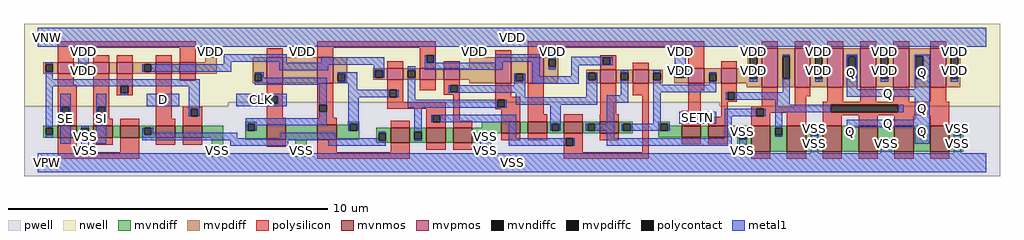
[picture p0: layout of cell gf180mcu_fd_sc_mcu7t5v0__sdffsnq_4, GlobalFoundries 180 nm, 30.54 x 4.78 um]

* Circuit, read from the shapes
.subckt gf180mcu_fd_sc_mcu7t5v0__sdffsnq_4 D SE SETN SI CLK Q VDD VNW VPW VSS
XM1 VSS SE n1 VPW nfet_06v0 w=0.38u l=0.6u
XM2 n2 SI VSS VPW nfet_06v0 w=0.38u l=0.6u
XM3 n3 SE n2 VPW nfet_06v0 w=0.38u l=0.6u
XM4 n4 D n3 VPW nfet_06v0 w=0.38u l=0.6u
XM5 VSS n1 n4 VPW nfet_06v0 w=0.38u l=0.6u
XM6 VSS CLK n5 VPW nfet_06v0 w=0.465u l=0.6u
XM7 n6 n5 VSS VPW nfet_06v0 w=0.465u l=0.6u
XM8 n7 n5 n3 VPW nfet_06v0 w=0.475u l=0.6u
XM9 n8 n6 n7 VPW nfet_06v0 w=0.475u l=0.6u
XM10 VSS n9 n8 VPW nfet_06v0 w=0.475u l=0.6u
XM11 n10 n7 VSS VPW nfet_06v0 w=0.36u l=0.6u
XM12 n9 SETN n10 VPW nfet_06v0 w=0.36u l=0.6u
XM13 n11 n6 n9 VPW nfet_06v0 w=0.36u l=0.6u
XM14 n12 n5 n11 VPW nfet_06v0 w=0.36u l=0.6u
XM15 n13 SETN n12 VPW nfet_06v0 w=0.37u l=0.6u
XM16 VSS n14 n13 VPW nfet_06v0 w=0.37u l=0.6u
XM17 n14 n11 VSS VPW nfet_06v0 w=0.815u l=0.6u m=2
XM18 Q n14 VSS VPW nfet_06v0 w=0.815u l=0.6u m=4
XM19 VDD SE n1 VNW pfet_06v0 w=0.36u l=0.5u
XM20 n15 SI VDD VNW pfet_06v0 w=0.36u l=0.5u
XM21 n16 n1 n15 VNW pfet_06v0 w=0.36u l=0.5u
XM22 n17 D n16 VNW pfet_06v0 w=0.36u l=0.5u
XM23 VDD SE n17 VNW pfet_06v0 w=0.36u l=0.5u
XM24 VDD CLK n5 VNW pfet_06v0 w=0.815u l=0.5u
XM25 n6 n5 VDD VNW pfet_06v0 w=0.815u l=0.5u
XM26 n7 n6 n16 VNW pfet_06v0 w=0.36u l=0.5u
XM27 n18 n5 n7 VNW pfet_06v0 w=0.36u l=0.5u
XM28 VDD n9 n18 VNW pfet_06v0 w=0.36u l=0.5u
XM29 n9 n7 VDD VNW pfet_06v0 w=0.815u l=0.5u
XM30 VDD SETN n9 VNW pfet_06v0 w=0.815u l=0.5u
XM31 n11 n5 n9 VNW pfet_06v0 w=0.415u l=0.5u
XM32 n12 n6 n11 VNW pfet_06v0 w=0.415u l=0.5u
XM33 n12 SETN VDD VNW pfet_06v0 w=0.47u l=0.5u
XM34 VDD n14 n12 VNW pfet_06v0 w=0.47u l=0.5u
XM35 n14 n11 VDD VNW pfet_06v0 w=1.22u l=0.5u m=2
XM36 Q n14 VDD VNW pfet_06v0 w=1.22u l=0.5u m=4
.ends

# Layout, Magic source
magic
tech gf180mcuD
magscale 1 10
<< nwell >>
rect -86 377 6022 870
rect -86 352 1193 377
rect 4269 352 6022 377
<< pwell >>
rect 1193 352 4269 377
rect -86 -86 6022 352
<< mvnmos >>
rect 124 156 244 232
rect 348 156 468 232
rect 516 156 636 232
rect 740 156 860 232
rect 908 156 1028 232
rect 1432 144 1552 237
rect 1750 144 1870 237
rect 2208 124 2328 219
rect 2432 124 2552 219
rect 2600 124 2720 219
rect 2900 185 3020 257
rect 3068 185 3188 257
rect 3292 185 3412 257
rect 3516 185 3636 257
rect 4029 158 4149 232
rect 4197 158 4317 232
rect 4465 69 4585 232
rect 4689 69 4809 232
rect 4913 69 5033 232
rect 5137 69 5257 232
rect 5361 69 5481 232
rect 5585 69 5705 232
<< mvpmos >>
rect 124 556 224 628
rect 348 556 448 628
rect 496 556 596 628
rect 740 556 840 628
rect 888 556 988 628
rect 1432 497 1532 660
rect 1750 497 1850 660
rect 2188 518 2288 590
rect 2392 518 2492 590
rect 2540 518 2640 590
rect 2864 497 2964 660
rect 3068 497 3168 660
rect 3520 497 3620 580
rect 3724 497 3824 580
rect 4072 497 4172 591
rect 4276 497 4376 591
rect 4532 472 4632 716
rect 4736 472 4836 716
rect 4940 472 5040 716
rect 5147 472 5247 716
rect 5353 472 5453 716
rect 5585 472 5685 716
<< mvndiff >>
rect 1300 244 1372 257
rect 36 219 124 232
rect 36 173 49 219
rect 95 173 124 219
rect 36 156 124 173
rect 244 215 348 232
rect 244 169 273 215
rect 319 169 348 215
rect 244 156 348 169
rect 468 156 516 232
rect 636 219 740 232
rect 636 173 665 219
rect 711 173 740 219
rect 636 156 740 173
rect 860 156 908 232
rect 1028 156 1160 232
rect 1088 95 1160 156
rect 1300 198 1313 244
rect 1359 237 1372 244
rect 1940 244 2012 257
rect 1940 237 1953 244
rect 1359 198 1432 237
rect 1300 144 1432 198
rect 1552 144 1750 237
rect 1870 198 1953 237
rect 1999 198 2012 244
rect 2780 219 2900 257
rect 1870 144 2012 198
rect 2120 183 2208 219
rect 1088 49 1101 95
rect 1147 49 1160 95
rect 1088 36 1160 49
rect 1612 95 1684 144
rect 1612 49 1625 95
rect 1671 49 1684 95
rect 1612 36 1684 49
rect 2120 137 2133 183
rect 2179 137 2208 183
rect 2120 124 2208 137
rect 2328 193 2432 219
rect 2328 147 2357 193
rect 2403 147 2432 193
rect 2328 124 2432 147
rect 2552 124 2600 219
rect 2720 185 2900 219
rect 3020 185 3068 257
rect 3188 244 3292 257
rect 3188 198 3217 244
rect 3263 198 3292 244
rect 3188 185 3292 198
rect 3412 244 3516 257
rect 3412 198 3441 244
rect 3487 198 3516 244
rect 3412 185 3516 198
rect 3636 244 3724 257
rect 3636 198 3665 244
rect 3711 198 3724 244
rect 3636 185 3724 198
rect 2720 183 2840 185
rect 2720 137 2781 183
rect 2827 137 2840 183
rect 2720 124 2840 137
rect 3884 244 3956 257
rect 3884 198 3897 244
rect 3943 232 3956 244
rect 3943 198 4029 232
rect 3884 158 4029 198
rect 4149 158 4197 232
rect 4317 193 4465 232
rect 4317 158 4390 193
rect 4377 147 4390 158
rect 4436 147 4465 193
rect 4377 69 4465 147
rect 4585 218 4689 232
rect 4585 172 4614 218
rect 4660 172 4689 218
rect 4585 69 4689 172
rect 4809 218 4913 232
rect 4809 172 4838 218
rect 4884 172 4913 218
rect 4809 69 4913 172
rect 5033 218 5137 232
rect 5033 172 5062 218
rect 5108 172 5137 218
rect 5033 69 5137 172
rect 5257 149 5361 232
rect 5257 103 5286 149
rect 5332 103 5361 149
rect 5257 69 5361 103
rect 5481 218 5585 232
rect 5481 172 5510 218
rect 5556 172 5585 218
rect 5481 69 5585 172
rect 5705 218 5793 232
rect 5705 172 5734 218
rect 5780 172 5793 218
rect 5705 69 5793 172
<< mvpdiff >>
rect 1048 707 1120 720
rect 1048 661 1061 707
rect 1107 661 1120 707
rect 1048 628 1120 661
rect 1618 716 1690 729
rect 1618 670 1631 716
rect 1677 670 1690 716
rect 1618 660 1690 670
rect 36 615 124 628
rect 36 569 49 615
rect 95 569 124 615
rect 36 556 124 569
rect 224 615 348 628
rect 224 569 263 615
rect 309 569 348 615
rect 224 556 348 569
rect 448 556 496 628
rect 596 615 740 628
rect 596 569 665 615
rect 711 569 740 615
rect 596 556 740 569
rect 840 556 888 628
rect 988 556 1120 628
rect 1344 556 1432 660
rect 1344 510 1357 556
rect 1403 510 1432 556
rect 1344 497 1432 510
rect 1532 497 1750 660
rect 1850 556 1938 660
rect 2700 718 2772 731
rect 2700 672 2713 718
rect 2759 672 2772 718
rect 2700 660 2772 672
rect 2700 590 2864 660
rect 1850 510 1879 556
rect 1925 510 1938 556
rect 2100 577 2188 590
rect 2100 531 2113 577
rect 2159 531 2188 577
rect 2100 518 2188 531
rect 2288 577 2392 590
rect 2288 531 2317 577
rect 2363 531 2392 577
rect 2288 518 2392 531
rect 2492 518 2540 590
rect 2640 518 2864 590
rect 1850 497 1938 510
rect 2700 497 2864 518
rect 2964 556 3068 660
rect 2964 510 2993 556
rect 3039 510 3068 556
rect 2964 497 3068 510
rect 3168 647 3256 660
rect 3168 601 3197 647
rect 3243 601 3256 647
rect 3168 497 3256 601
rect 4444 665 4532 716
rect 4444 591 4457 665
rect 3432 562 3520 580
rect 3432 516 3445 562
rect 3491 516 3520 562
rect 3432 497 3520 516
rect 3620 562 3724 580
rect 3620 516 3649 562
rect 3695 516 3724 562
rect 3620 497 3724 516
rect 3824 562 3912 580
rect 3824 516 3853 562
rect 3899 516 3912 562
rect 3824 497 3912 516
rect 3984 578 4072 591
rect 3984 532 3997 578
rect 4043 532 4072 578
rect 3984 497 4072 532
rect 4172 556 4276 591
rect 4172 510 4201 556
rect 4247 510 4276 556
rect 4172 497 4276 510
rect 4376 525 4457 591
rect 4503 525 4532 665
rect 4376 497 4532 525
rect 4436 472 4532 497
rect 4632 665 4736 716
rect 4632 525 4661 665
rect 4707 525 4736 665
rect 4632 472 4736 525
rect 4836 665 4940 716
rect 4836 525 4865 665
rect 4911 525 4940 665
rect 4836 472 4940 525
rect 5040 665 5147 716
rect 5040 525 5072 665
rect 5118 525 5147 665
rect 5040 472 5147 525
rect 5247 665 5353 716
rect 5247 525 5276 665
rect 5322 525 5353 665
rect 5247 472 5353 525
rect 5453 665 5585 716
rect 5453 525 5495 665
rect 5541 525 5585 665
rect 5453 472 5585 525
rect 5685 665 5773 716
rect 5685 525 5714 665
rect 5760 525 5773 665
rect 5685 472 5773 525
<< mvndiffc >>
rect 49 173 95 219
rect 273 169 319 215
rect 665 173 711 219
rect 1313 198 1359 244
rect 1953 198 1999 244
rect 1101 49 1147 95
rect 1625 49 1671 95
rect 2133 137 2179 183
rect 2357 147 2403 193
rect 3217 198 3263 244
rect 3441 198 3487 244
rect 3665 198 3711 244
rect 2781 137 2827 183
rect 3897 198 3943 244
rect 4390 147 4436 193
rect 4614 172 4660 218
rect 4838 172 4884 218
rect 5062 172 5108 218
rect 5286 103 5332 149
rect 5510 172 5556 218
rect 5734 172 5780 218
<< mvpdiffc >>
rect 1061 661 1107 707
rect 1631 670 1677 716
rect 49 569 95 615
rect 263 569 309 615
rect 665 569 711 615
rect 1357 510 1403 556
rect 2713 672 2759 718
rect 1879 510 1925 556
rect 2113 531 2159 577
rect 2317 531 2363 577
rect 2993 510 3039 556
rect 3197 601 3243 647
rect 3445 516 3491 562
rect 3649 516 3695 562
rect 3853 516 3899 562
rect 3997 532 4043 578
rect 4201 510 4247 556
rect 4457 525 4503 665
rect 4661 525 4707 665
rect 4865 525 4911 665
rect 5072 525 5118 665
rect 5276 525 5322 665
rect 5495 525 5541 665
rect 5714 525 5760 665
<< polysilicon >>
rect 124 720 988 760
rect 124 628 224 720
rect 348 628 448 672
rect 496 628 596 672
rect 740 628 840 672
rect 888 628 988 720
rect 1432 660 1532 717
rect 1750 720 2492 760
rect 1750 660 1850 720
rect 2392 671 2492 720
rect 124 486 224 556
rect 124 351 244 486
rect 124 305 150 351
rect 196 305 244 351
rect 124 232 244 305
rect 348 351 448 556
rect 496 480 596 556
rect 496 434 520 480
rect 566 434 596 480
rect 496 421 596 434
rect 348 305 375 351
rect 421 305 448 351
rect 348 276 448 305
rect 740 419 840 556
rect 888 512 988 556
rect 2188 590 2288 634
rect 2392 625 2433 671
rect 2479 625 2492 671
rect 3068 720 4172 760
rect 2864 660 2964 704
rect 3068 660 3168 720
rect 2392 590 2492 625
rect 2540 590 2640 634
rect 740 373 753 419
rect 799 373 840 419
rect 740 276 840 373
rect 1432 415 1532 497
rect 1432 369 1455 415
rect 1501 369 1532 415
rect 908 337 1028 350
rect 908 291 956 337
rect 1002 291 1028 337
rect 348 232 468 276
rect 516 232 636 276
rect 740 232 860 276
rect 908 232 1028 291
rect 1432 281 1532 369
rect 1750 363 1850 497
rect 1750 317 1763 363
rect 1809 317 1850 363
rect 2188 456 2288 518
rect 2188 410 2201 456
rect 2247 410 2288 456
rect 2392 454 2492 518
rect 2540 485 2640 518
rect 3520 659 3620 672
rect 3520 613 3537 659
rect 3583 613 3620 659
rect 3520 580 3620 613
rect 3724 580 3824 624
rect 4072 591 4172 720
rect 4532 716 4632 760
rect 4736 716 4836 760
rect 4940 716 5040 760
rect 5147 716 5247 760
rect 5353 716 5453 760
rect 5585 716 5685 760
rect 4276 591 4376 635
rect 2540 439 2581 485
rect 2627 439 2640 485
rect 2540 426 2640 439
rect 2188 378 2288 410
rect 2188 338 2552 378
rect 1750 281 1850 317
rect 2432 298 2552 338
rect 124 64 244 156
rect 348 112 468 156
rect 516 64 636 156
rect 740 112 860 156
rect 908 112 1028 156
rect 124 24 636 64
rect 1432 237 1552 281
rect 1750 237 1870 281
rect 2208 219 2328 263
rect 2432 252 2473 298
rect 2519 252 2552 298
rect 2432 219 2552 252
rect 2600 263 2640 426
rect 2864 412 2964 497
rect 2864 392 3020 412
rect 2864 346 2877 392
rect 2923 346 3020 392
rect 2864 333 3020 346
rect 2600 219 2720 263
rect 2900 257 3020 333
rect 3068 304 3168 497
rect 3520 304 3620 497
rect 3724 423 3824 497
rect 3068 257 3188 304
rect 3292 257 3412 304
rect 3520 301 3636 304
rect 3516 257 3636 301
rect 1432 100 1552 144
rect 1750 64 1870 144
rect 2900 141 3020 185
rect 3068 141 3188 185
rect 3292 152 3412 185
rect 2208 64 2328 124
rect 2432 80 2552 124
rect 2600 80 2720 124
rect 3292 106 3305 152
rect 3351 106 3412 152
rect 3516 141 3636 185
rect 1750 24 2328 64
rect 3292 64 3412 106
rect 3784 64 3824 423
rect 4072 453 4172 497
rect 4072 324 4149 453
rect 4029 311 4149 324
rect 4029 265 4042 311
rect 4088 265 4149 311
rect 4276 439 4376 497
rect 4276 393 4317 439
rect 4363 393 4376 439
rect 4276 380 4376 393
rect 4276 287 4317 380
rect 4532 351 4632 472
rect 4736 417 4836 472
rect 4736 351 4809 417
rect 4940 380 5040 472
rect 5147 380 5247 472
rect 5353 380 5453 472
rect 5585 380 5685 472
rect 4532 350 4809 351
rect 4029 232 4149 265
rect 4197 232 4317 287
rect 4465 337 4809 350
rect 4465 291 4498 337
rect 4544 311 4809 337
rect 4544 291 4585 311
rect 4465 232 4585 291
rect 4689 232 4809 311
rect 4913 361 5705 380
rect 4913 315 4964 361
rect 5386 315 5705 361
rect 4913 296 5705 315
rect 4913 232 5033 296
rect 5137 232 5257 296
rect 5361 232 5481 296
rect 5585 232 5705 296
rect 4029 114 4149 158
rect 4197 114 4317 158
rect 3292 24 3824 64
rect 4465 24 4585 69
rect 4689 24 4809 69
rect 4913 24 5033 69
rect 5137 24 5257 69
rect 5361 24 5481 69
rect 5585 24 5705 69
<< polycontact >>
rect 150 305 196 351
rect 520 434 566 480
rect 375 305 421 351
rect 2433 625 2479 671
rect 753 373 799 419
rect 1455 369 1501 415
rect 956 291 1002 337
rect 1763 317 1809 363
rect 2201 410 2247 456
rect 3537 613 3583 659
rect 2581 439 2627 485
rect 2473 252 2519 298
rect 2877 346 2923 392
rect 3305 106 3351 152
rect 4042 265 4088 311
rect 4317 393 4363 439
rect 4498 291 4544 337
rect 4964 315 5386 361
<< metal1 >>
rect 0 724 5936 844
rect 49 615 95 628
rect 252 615 320 724
rect 1050 707 1118 724
rect 1050 661 1061 707
rect 1107 661 1118 707
rect 1620 716 1688 724
rect 1164 632 1558 678
rect 1620 670 1631 716
rect 1677 670 1688 716
rect 2702 718 2770 724
rect 2702 672 2713 718
rect 2759 672 2770 718
rect 1164 615 1210 632
rect 252 569 263 615
rect 309 569 320 615
rect 654 569 665 615
rect 711 569 1210 615
rect 1512 624 1558 632
rect 1773 624 2170 659
rect 1512 613 2170 624
rect 1512 578 1819 613
rect 2102 577 2170 613
rect 2422 625 2433 671
rect 2479 626 2490 671
rect 2864 632 3142 678
rect 2864 626 2910 632
rect 2479 625 2910 626
rect 49 523 95 569
rect 1357 556 1414 567
rect 49 480 1013 523
rect 1403 532 1414 556
rect 1879 556 1999 567
rect 1403 510 1809 532
rect 1357 486 1809 510
rect 1925 510 1999 556
rect 2102 531 2113 577
rect 2159 531 2170 577
rect 2317 577 2363 603
rect 2422 580 2910 625
rect 1879 499 1999 510
rect 49 477 520 480
rect 49 219 95 477
rect 566 477 1013 480
rect 49 156 95 173
rect 141 351 206 430
rect 141 305 150 351
rect 196 305 206 351
rect 141 119 206 305
rect 365 351 430 430
rect 520 421 566 434
rect 682 419 886 430
rect 682 373 753 419
rect 799 373 886 419
rect 682 354 886 373
rect 365 305 375 351
rect 421 305 430 351
rect 273 215 319 232
rect 273 60 319 169
rect 365 119 430 305
rect 945 337 1013 477
rect 1242 415 1558 430
rect 1242 369 1455 415
rect 1501 369 1558 415
rect 1242 354 1558 369
rect 1763 363 1809 486
rect 945 291 956 337
rect 1002 291 1013 337
rect 1763 279 1809 317
rect 1302 244 1809 279
rect 654 173 665 219
rect 711 187 722 219
rect 1302 198 1313 244
rect 1359 233 1809 244
rect 1942 456 1999 499
rect 1942 410 2201 456
rect 2247 410 2258 456
rect 1942 409 2258 410
rect 1942 244 2010 409
rect 2317 392 2363 531
rect 2982 510 2993 556
rect 3039 510 3050 556
rect 2982 485 3050 510
rect 3096 540 3142 632
rect 3197 647 3243 724
rect 3197 586 3243 601
rect 3340 659 3598 662
rect 3340 613 3537 659
rect 3583 613 3598 659
rect 3340 608 3598 613
rect 3340 540 3386 608
rect 3986 578 4054 724
rect 3649 562 3695 578
rect 3096 493 3386 540
rect 3434 516 3445 562
rect 3491 516 3502 562
rect 2570 439 2581 485
rect 2627 439 3050 485
rect 2570 438 3050 439
rect 2993 408 3050 438
rect 3434 408 3502 516
rect 3649 421 3695 516
rect 2317 346 2877 392
rect 2923 346 2934 392
rect 2993 361 3502 408
rect 3562 375 3695 421
rect 3853 562 3899 578
rect 3986 532 3997 578
rect 4043 532 4054 578
rect 4457 665 4503 724
rect 4201 556 4247 567
rect 3853 486 3899 516
rect 4201 486 4247 510
rect 4457 506 4503 525
rect 4661 665 4707 676
rect 3853 440 4247 486
rect 2317 345 2934 346
rect 1359 198 1370 233
rect 1942 198 1953 244
rect 1999 198 2010 244
rect 711 173 1250 187
rect 654 152 1250 173
rect 1522 152 1863 187
rect 2133 183 2179 194
rect 654 141 2133 152
rect 1204 106 1568 141
rect 1817 137 2133 141
rect 1817 106 2179 137
rect 2357 193 2403 345
rect 2462 298 2995 299
rect 2462 252 2473 298
rect 2519 252 2995 298
rect 2357 136 2403 147
rect 2770 137 2781 183
rect 2827 137 2838 183
rect 1090 60 1101 95
rect 0 49 1101 60
rect 1147 60 1158 95
rect 1614 60 1625 95
rect 1147 49 1625 60
rect 1671 60 1682 95
rect 2770 60 2838 137
rect 2949 152 2995 252
rect 3206 244 3274 361
rect 3562 244 3608 375
rect 3853 244 3899 440
rect 4661 439 4707 525
rect 4865 665 4911 724
rect 4865 506 4911 525
rect 5062 665 5128 676
rect 5062 525 5072 665
rect 5118 525 5128 665
rect 4306 393 4317 439
rect 4363 393 4707 439
rect 5062 458 5128 525
rect 5276 665 5322 724
rect 5276 506 5322 525
rect 5488 665 5582 676
rect 5488 525 5495 665
rect 5541 525 5582 665
rect 5488 458 5582 525
rect 5714 665 5760 724
rect 5714 506 5760 525
rect 5062 411 5582 458
rect 4614 361 4707 393
rect 4015 311 4246 318
rect 4015 265 4042 311
rect 4088 265 4246 311
rect 3206 198 3217 244
rect 3263 198 3274 244
rect 3430 198 3441 244
rect 3487 198 3608 244
rect 3654 198 3665 244
rect 3711 198 3897 244
rect 3943 198 3954 244
rect 4015 242 4246 265
rect 4298 291 4498 337
rect 4544 291 4555 337
rect 4298 290 4555 291
rect 4614 315 4964 361
rect 5386 315 5421 361
rect 3562 152 3608 198
rect 4298 152 4344 290
rect 4614 218 4660 315
rect 5488 269 5582 411
rect 2949 106 3305 152
rect 3351 106 3362 152
rect 3562 106 4344 152
rect 4390 193 4436 204
rect 4614 161 4660 172
rect 4838 218 4884 229
rect 4390 60 4436 147
rect 4838 60 4884 172
rect 5062 223 5582 269
rect 5062 218 5108 223
rect 5062 161 5108 172
rect 5488 218 5582 223
rect 5488 172 5510 218
rect 5556 172 5582 218
rect 5275 149 5343 150
rect 5275 103 5286 149
rect 5332 103 5343 149
rect 5488 119 5582 172
rect 5734 218 5780 229
rect 5275 60 5343 103
rect 5734 60 5780 172
rect 1671 49 5936 60
rect 0 -60 5936 49
<< labels >>
flabel metal1 s 682 354 886 430 0 FreeSans 600 0 0 0 D
port 1 nsew default input
flabel metal1 s 5488 458 5582 676 0 FreeSans 600 0 0 0 Q
port 6 nsew default output
flabel metal1 s 141 119 206 430 0 FreeSans 600 0 0 0 SE
port 2 nsew default input
flabel metal1 s 4015 242 4246 318 0 FreeSans 600 0 0 0 SETN
port 3 nsew default input
flabel metal1 s 365 119 430 430 0 FreeSans 600 0 0 0 SI
port 4 nsew default input
flabel metal1 s 0 724 5936 844 0 FreeSans 600 0 0 0 VDD
port 7 nsew power bidirectional abutment
flabel metal1 s 273 229 319 232 0 FreeSans 600 0 0 0 VSS
port 10 nsew ground bidirectional abutment
flabel metal1 s 1242 354 1558 430 0 FreeSans 600 0 0 0 CLK
port 5 nsew clock input
flabel nwell s 10 734 110 834 0 FreeSans 400 0 0 0 VNW
port 8 nsew power bidirectional
flabel pwell s 10 -50 110 50 0 FreeSans 400 0 0 0 VPW
port 9 nsew ground bidirectional
rlabel metal1 s 5062 458 5128 676 1 Q
port 6 nsew default output
rlabel metal1 s 5062 411 5582 458 1 Q
port 6 nsew default output
rlabel metal1 s 5488 269 5582 411 1 Q
port 6 nsew default output
rlabel metal1 s 5062 223 5582 269 1 Q
port 6 nsew default output
rlabel metal1 s 5488 161 5582 223 1 Q
port 6 nsew default output
rlabel metal1 s 5062 161 5108 223 1 Q
port 6 nsew default output
rlabel metal1 s 5488 119 5582 161 1 Q
port 6 nsew default output
rlabel metal1 s 5714 672 5760 724 1 VDD
port 7 nsew power bidirectional abutment
rlabel metal1 s 5276 672 5322 724 1 VDD
port 7 nsew power bidirectional abutment
rlabel metal1 s 4865 672 4911 724 1 VDD
port 7 nsew power bidirectional abutment
rlabel metal1 s 4457 672 4503 724 1 VDD
port 7 nsew power bidirectional abutment
rlabel metal1 s 3986 672 4054 724 1 VDD
port 7 nsew power bidirectional abutment
rlabel metal1 s 3197 672 3243 724 1 VDD
port 7 nsew power bidirectional abutment
rlabel metal1 s 2702 672 2770 724 1 VDD
port 7 nsew power bidirectional abutment
rlabel metal1 s 1620 672 1688 724 1 VDD
port 7 nsew power bidirectional abutment
rlabel metal1 s 1050 672 1118 724 1 VDD
port 7 nsew power bidirectional abutment
rlabel metal1 s 252 672 320 724 1 VDD
port 7 nsew power bidirectional abutment
rlabel metal1 s 5714 670 5760 672 1 VDD
port 7 nsew power bidirectional abutment
rlabel metal1 s 5276 670 5322 672 1 VDD
port 7 nsew power bidirectional abutment
rlabel metal1 s 4865 670 4911 672 1 VDD
port 7 nsew power bidirectional abutment
rlabel metal1 s 4457 670 4503 672 1 VDD
port 7 nsew power bidirectional abutment
rlabel metal1 s 3986 670 4054 672 1 VDD
port 7 nsew power bidirectional abutment
rlabel metal1 s 3197 670 3243 672 1 VDD
port 7 nsew power bidirectional abutment
rlabel metal1 s 1620 670 1688 672 1 VDD
port 7 nsew power bidirectional abutment
rlabel metal1 s 1050 670 1118 672 1 VDD
port 7 nsew power bidirectional abutment
rlabel metal1 s 252 670 320 672 1 VDD
port 7 nsew power bidirectional abutment
rlabel metal1 s 5714 661 5760 670 1 VDD
port 7 nsew power bidirectional abutment
rlabel metal1 s 5276 661 5322 670 1 VDD
port 7 nsew power bidirectional abutment
rlabel metal1 s 4865 661 4911 670 1 VDD
port 7 nsew power bidirectional abutment
rlabel metal1 s 4457 661 4503 670 1 VDD
port 7 nsew power bidirectional abutment
rlabel metal1 s 3986 661 4054 670 1 VDD
port 7 nsew power bidirectional abutment
rlabel metal1 s 3197 661 3243 670 1 VDD
port 7 nsew power bidirectional abutment
rlabel metal1 s 1050 661 1118 670 1 VDD
port 7 nsew power bidirectional abutment
rlabel metal1 s 252 661 320 670 1 VDD
port 7 nsew power bidirectional abutment
rlabel metal1 s 5714 586 5760 661 1 VDD
port 7 nsew power bidirectional abutment
rlabel metal1 s 5276 586 5322 661 1 VDD
port 7 nsew power bidirectional abutment
rlabel metal1 s 4865 586 4911 661 1 VDD
port 7 nsew power bidirectional abutment
rlabel metal1 s 4457 586 4503 661 1 VDD
port 7 nsew power bidirectional abutment
rlabel metal1 s 3986 586 4054 661 1 VDD
port 7 nsew power bidirectional abutment
rlabel metal1 s 3197 586 3243 661 1 VDD
port 7 nsew power bidirectional abutment
rlabel metal1 s 252 586 320 661 1 VDD
port 7 nsew power bidirectional abutment
rlabel metal1 s 5714 569 5760 586 1 VDD
port 7 nsew power bidirectional abutment
rlabel metal1 s 5276 569 5322 586 1 VDD
port 7 nsew power bidirectional abutment
rlabel metal1 s 4865 569 4911 586 1 VDD
port 7 nsew power bidirectional abutment
rlabel metal1 s 4457 569 4503 586 1 VDD
port 7 nsew power bidirectional abutment
rlabel metal1 s 3986 569 4054 586 1 VDD
port 7 nsew power bidirectional abutment
rlabel metal1 s 252 569 320 586 1 VDD
port 7 nsew power bidirectional abutment
rlabel metal1 s 5714 532 5760 569 1 VDD
port 7 nsew power bidirectional abutment
rlabel metal1 s 5276 532 5322 569 1 VDD
port 7 nsew power bidirectional abutment
rlabel metal1 s 4865 532 4911 569 1 VDD
port 7 nsew power bidirectional abutment
rlabel metal1 s 4457 532 4503 569 1 VDD
port 7 nsew power bidirectional abutment
rlabel metal1 s 3986 532 4054 569 1 VDD
port 7 nsew power bidirectional abutment
rlabel metal1 s 5714 506 5760 532 1 VDD
port 7 nsew power bidirectional abutment
rlabel metal1 s 5276 506 5322 532 1 VDD
port 7 nsew power bidirectional abutment
rlabel metal1 s 4865 506 4911 532 1 VDD
port 7 nsew power bidirectional abutment
rlabel metal1 s 4457 506 4503 532 1 VDD
port 7 nsew power bidirectional abutment
rlabel metal1 s 5734 204 5780 229 1 VSS
port 10 nsew ground bidirectional abutment
rlabel metal1 s 4838 204 4884 229 1 VSS
port 10 nsew ground bidirectional abutment
rlabel metal1 s 273 204 319 229 1 VSS
port 10 nsew ground bidirectional abutment
rlabel metal1 s 5734 183 5780 204 1 VSS
port 10 nsew ground bidirectional abutment
rlabel metal1 s 4838 183 4884 204 1 VSS
port 10 nsew ground bidirectional abutment
rlabel metal1 s 4390 183 4436 204 1 VSS
port 10 nsew ground bidirectional abutment
rlabel metal1 s 273 183 319 204 1 VSS
port 10 nsew ground bidirectional abutment
rlabel metal1 s 5734 150 5780 183 1 VSS
port 10 nsew ground bidirectional abutment
rlabel metal1 s 4838 150 4884 183 1 VSS
port 10 nsew ground bidirectional abutment
rlabel metal1 s 4390 150 4436 183 1 VSS
port 10 nsew ground bidirectional abutment
rlabel metal1 s 2770 150 2838 183 1 VSS
port 10 nsew ground bidirectional abutment
rlabel metal1 s 273 150 319 183 1 VSS
port 10 nsew ground bidirectional abutment
rlabel metal1 s 5734 95 5780 150 1 VSS
port 10 nsew ground bidirectional abutment
rlabel metal1 s 5275 95 5343 150 1 VSS
port 10 nsew ground bidirectional abutment
rlabel metal1 s 4838 95 4884 150 1 VSS
port 10 nsew ground bidirectional abutment
rlabel metal1 s 4390 95 4436 150 1 VSS
port 10 nsew ground bidirectional abutment
rlabel metal1 s 2770 95 2838 150 1 VSS
port 10 nsew ground bidirectional abutment
rlabel metal1 s 273 95 319 150 1 VSS
port 10 nsew ground bidirectional abutment
rlabel metal1 s 5734 60 5780 95 1 VSS
port 10 nsew ground bidirectional abutment
rlabel metal1 s 5275 60 5343 95 1 VSS
port 10 nsew ground bidirectional abutment
rlabel metal1 s 4838 60 4884 95 1 VSS
port 10 nsew ground bidirectional abutment
rlabel metal1 s 4390 60 4436 95 1 VSS
port 10 nsew ground bidirectional abutment
rlabel metal1 s 2770 60 2838 95 1 VSS
port 10 nsew ground bidirectional abutment
rlabel metal1 s 1614 60 1682 95 1 VSS
port 10 nsew ground bidirectional abutment
rlabel metal1 s 1090 60 1158 95 1 VSS
port 10 nsew ground bidirectional abutment
rlabel metal1 s 273 60 319 95 1 VSS
port 10 nsew ground bidirectional abutment
rlabel metal1 s 0 -60 5936 60 1 VSS
port 10 nsew ground bidirectional abutment
<< properties >>
string FIXED_BBOX 0 0 5936 784
string GDS_END 316014
string GDS_FILE $PDKPATH/libs.ref/gf180mcu_fd_sc_mcu7t5v0/gds/gf180mcu_fd_sc_mcu7t5v0.gds
string GDS_START 304126
string LEFclass core
string LEFsite GF018hv5v_mcu_sc7
string LEFsymmetry X Y
<< end >>
